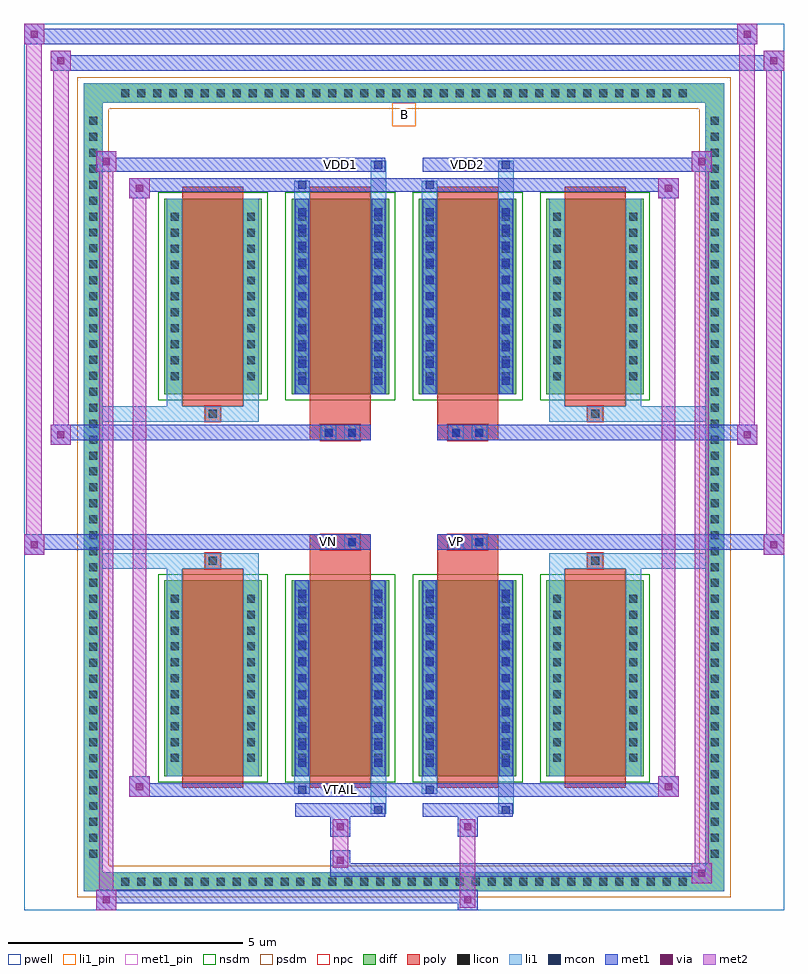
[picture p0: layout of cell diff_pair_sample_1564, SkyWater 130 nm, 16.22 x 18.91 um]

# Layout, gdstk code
import gdstk
lib = gdstk.Library(unit=1e-6, precision=5e-09)
def R(c, l, rs):  # rectangles x0, y0, x1, y1
    for r in rs: c.add(gdstk.rectangle(r[:2], r[2:], *l))
def A(c, l, x, y, w, h, nx, ny, dx, dy):  # array of equal rectangles
    R(c, l, [(x+i*dx, y+j*dy, x+i*dx+w, y+j*dy+h) for i in range(nx) for j in range(ny)])
def P(c, l, *ps):  # polygons
    for p in ps: c.add(gdstk.Polygon(p, *l))
pwell = (64, 44)
diff = (65, 20)
poly = (66, 20)
licon = (66, 44)
li1_pin = (67, 16)
li1 = (67, 20)
mcon = (67, 44)
met1_pin = (68, 16)
met1 = (68, 20)
via = (68, 44)
met2 = (69, 20)
nsdm = (93, 44)
psdm = (94, 20)
npc = (95, 20)

diff_pair_sample_1564 = lib.new_cell('diff_pair_sample_1564')
R(diff_pair_sample_1564, pwell, [(-8.11,-9.02,8.11,9.89), (-5.43,-7.21,-0.01,-0.805), (0.01,-7.21,5.43,-0.805), (-5.43,0.805,-0.01,7.21), (0.01,0.805,5.43,7.21)])
A(diff_pair_sample_1564, diff, -6.155, -8.62, 0.41, 0.41, 36, 2, 0.34, 16.83)
A(diff_pair_sample_1564, diff, -6.84, -8.025, 0.41, 0.41, 1, 47, 0, 0.34)
A(diff_pair_sample_1564, diff, 6.43, -8.025, 0.41, 0.41, 1, 47, 0, 0.34)
A(diff_pair_sample_1564, diff, -5.12, -6.165, 2.08, 4.18, 4, 2, 2.72, 8.15)
R(diff_pair_sample_1564, diff, [(-6.155,-8.62,6.155,-8.21), (-6.84,-8.025,-6.43,8.025), (6.43,-8.025,6.84,8.025), (-6.155,8.21,6.155,8.62)])
P(diff_pair_sample_1564, diff, [(6.84,8.62),(-6.84,8.62),(-6.84,-8.21),(-6.43,-8.21),(-6.43,8.21),(6.43,8.21),(6.43,-8.21),(-6.43,-8.21),(-6.84,-8.21),(-6.84,-8.62),(6.84,-8.62)])
A(diff_pair_sample_1564, poly, -4.73, -6.415, 1.3, 4.68, 4, 2, 2.72, 8.15)
R(diff_pair_sample_1564, poly, [(-4.245,-1.735,-3.915,-1.405), (-4.245,-1.735,-3.915,-1.405), (-2.01,-1.735,-0.71,-1.335), (0.71,-1.735,2.01,-1.335), (3.915,-1.735,4.245,-1.405), (3.915,-1.735,4.245,-1.405), (-2.01,-1.335,-0.71,-1.005), (-1.775,-1.335,-1.445,-1.005), (-1.275,-1.335,-0.945,-1.005), (0.71,-1.335,2.01,-1.005), (0.945,-1.335,1.275,-1.005), (1.445,-1.335,1.775,-1.005), (-2.01,1.005,-0.71,1.335), (-1.775,1.005,-1.445,1.335), (-1.275,1.005,-0.945,1.335), (0.71,1.005,2.01,1.335), (0.945,1.005,1.275,1.335), (1.445,1.005,1.775,1.335), (-2.01,1.335,-0.71,1.735), (0.71,1.335,2.01,1.735), (-4.245,1.405,-3.915,1.735), (-4.245,1.405,-3.915,1.735), (3.915,1.405,4.245,1.735), (3.915,1.405,4.245,1.735)])
A(diff_pair_sample_1564, licon, -6.035, -8.5, 0.17, 0.17, 36, 2, 0.34, 16.83)
A(diff_pair_sample_1564, licon, -6.72, -7.905, 0.17, 0.17, 1, 47, 0, 0.34)
A(diff_pair_sample_1564, licon, 6.55, -7.905, 0.17, 0.17, 1, 47, 0, 0.34)
A(diff_pair_sample_1564, licon, -4.98, -5.86, 0.17, 0.17, 1, 11, 0, 0.34)
A(diff_pair_sample_1564, licon, -3.35, -5.86, 0.17, 0.17, 1, 11, 0, 0.34)
A(diff_pair_sample_1564, licon, -2.26, -5.86, 0.17, 0.17, 1, 11, 0, 0.34)
A(diff_pair_sample_1564, licon, -0.63, -5.86, 0.17, 0.17, 1, 11, 0, 0.34)
A(diff_pair_sample_1564, licon, 0.46, -5.86, 0.17, 0.17, 1, 11, 0, 0.34)
A(diff_pair_sample_1564, licon, 2.09, -5.86, 0.17, 0.17, 1, 11, 0, 0.34)
A(diff_pair_sample_1564, licon, 3.18, -5.86, 0.17, 0.17, 1, 11, 0, 0.34)
A(diff_pair_sample_1564, licon, 4.81, -5.86, 0.17, 0.17, 1, 11, 0, 0.34)
A(diff_pair_sample_1564, licon, -4.98, 2.29, 0.17, 0.17, 1, 11, 0, 0.34)
A(diff_pair_sample_1564, licon, -3.35, 2.29, 0.17, 0.17, 1, 11, 0, 0.34)
A(diff_pair_sample_1564, licon, -2.26, 2.29, 0.17, 0.17, 1, 11, 0, 0.34)
A(diff_pair_sample_1564, licon, -0.63, 2.29, 0.17, 0.17, 1, 11, 0, 0.34)
A(diff_pair_sample_1564, licon, 0.46, 2.29, 0.17, 0.17, 1, 11, 0, 0.34)
A(diff_pair_sample_1564, licon, 2.09, 2.29, 0.17, 0.17, 1, 11, 0, 0.34)
A(diff_pair_sample_1564, licon, 3.18, 2.29, 0.17, 0.17, 1, 11, 0, 0.34)
A(diff_pair_sample_1564, licon, 4.81, 2.29, 0.17, 0.17, 1, 11, 0, 0.34)
R(diff_pair_sample_1564, licon, [(-4.165,-1.655,-3.995,-1.485), (3.995,-1.655,4.165,-1.485), (-1.695,-1.255,-1.525,-1.085), (-1.195,-1.255,-1.025,-1.085), (1.025,-1.255,1.195,-1.085), (1.525,-1.255,1.695,-1.085), (-1.695,1.085,-1.525,1.255), (-1.195,1.085,-1.025,1.255), (1.025,1.085,1.195,1.255), (1.525,1.085,1.695,1.255), (-4.165,1.485,-3.995,1.655), (3.995,1.485,4.165,1.655)])
R(diff_pair_sample_1564, li1_pin, [(-0.25,7.71,0.25,8.21)])
A(diff_pair_sample_1564, li1, -6.115, -8.58, 0.33, 0.33, 36, 2, 0.34, 16.83)
A(diff_pair_sample_1564, li1, -6.8, -7.985, 0.33, 0.33, 1, 47, 0, 0.34)
A(diff_pair_sample_1564, li1, 6.47, -7.985, 0.33, 0.33, 1, 47, 0, 0.34)
A(diff_pair_sample_1564, li1, -2.26, -5.96, 0.17, 0.17, 1, 11, 0, 0.36)
A(diff_pair_sample_1564, li1, -0.63, -5.96, 0.17, 0.17, 1, 11, 0, 0.36)
A(diff_pair_sample_1564, li1, 0.46, -5.96, 0.17, 0.17, 1, 11, 0, 0.36)
A(diff_pair_sample_1564, li1, 2.09, -5.96, 0.17, 0.17, 1, 11, 0, 0.36)
A(diff_pair_sample_1564, li1, -5.06, -5.94, 0.33, 0.33, 1, 11, 0, 0.34)
A(diff_pair_sample_1564, li1, -3.43, -5.94, 0.33, 0.33, 1, 11, 0, 0.34)
A(diff_pair_sample_1564, li1, -2.34, -5.94, 0.33, 0.33, 1, 11, 0, 0.34)
A(diff_pair_sample_1564, li1, -0.71, -5.94, 0.33, 0.33, 1, 11, 0, 0.34)
A(diff_pair_sample_1564, li1, 0.38, -5.94, 0.33, 0.33, 1, 11, 0, 0.34)
A(diff_pair_sample_1564, li1, 2.01, -5.94, 0.33, 0.33, 1, 11, 0, 0.34)
A(diff_pair_sample_1564, li1, 3.1, -5.94, 0.33, 0.33, 1, 11, 0, 0.34)
A(diff_pair_sample_1564, li1, 4.73, -5.94, 0.33, 0.33, 1, 11, 0, 0.34)
A(diff_pair_sample_1564, li1, -2.26, 2.19, 0.17, 0.17, 1, 11, 0, 0.36)
A(diff_pair_sample_1564, li1, -0.63, 2.19, 0.17, 0.17, 1, 11, 0, 0.36)
A(diff_pair_sample_1564, li1, 0.46, 2.19, 0.17, 0.17, 1, 11, 0, 0.36)
A(diff_pair_sample_1564, li1, 2.09, 2.19, 0.17, 0.17, 1, 11, 0, 0.36)
A(diff_pair_sample_1564, li1, -5.06, 2.21, 0.33, 0.33, 1, 11, 0, 0.34)
A(diff_pair_sample_1564, li1, -3.43, 2.21, 0.33, 0.33, 1, 11, 0, 0.34)
A(diff_pair_sample_1564, li1, -2.34, 2.21, 0.33, 0.33, 1, 11, 0, 0.34)
A(diff_pair_sample_1564, li1, -0.71, 2.21, 0.33, 0.33, 1, 11, 0, 0.34)
A(diff_pair_sample_1564, li1, 0.38, 2.21, 0.33, 0.33, 1, 11, 0, 0.34)
A(diff_pair_sample_1564, li1, 2.01, 2.21, 0.33, 0.33, 1, 11, 0, 0.34)
A(diff_pair_sample_1564, li1, 3.1, 2.21, 0.33, 0.33, 1, 11, 0, 0.34)
A(diff_pair_sample_1564, li1, 4.73, 2.21, 0.33, 0.33, 1, 11, 0, 0.34)
R(diff_pair_sample_1564, li1, [(-6.84,-8.62,-6.43,-8.21), (-6.84,-8.62,-6.43,-8.21), (-6.43,-8.62,6.43,-8.21), (6.43,-8.62,6.84,-8.21), (6.43,-8.62,6.84,-8.21), (-6.84,-8.21,-6.43,8.21), (6.43,-8.21,6.84,8.21), (-0.71,-6.97,-0.38,-6.165), (-0.63,-6.97,-0.46,-6.8), (2.01,-6.97,2.34,-6.165), (2.09,-6.97,2.26,-6.8), (-2.34,-6.54,-2.01,-6.165), (-2.26,-6.54,-2.09,-6.37), (0.38,-6.54,0.71,-6.165), (0.46,-6.54,0.63,-6.37), (-5.06,-6.165,-4.73,-1.985), (-3.43,-6.165,-3.1,-1.985), (-2.34,-6.165,-2.01,-1.985), (-0.71,-6.165,-0.38,-1.985), (0.38,-6.165,0.71,-1.985), (2.01,-6.165,2.34,-1.985), (3.1,-6.165,3.43,-1.985), (4.73,-6.165,5.06,-1.985), (-2.26,-5.96,-2.09,-2.19), (-0.63,-5.96,-0.46,-2.19), (0.46,-5.96,0.63,-2.19), (2.09,-5.96,2.26,-2.19), (-5.06,-1.985,-4.73,-1.405), (-3.43,-1.985,-3.1,-1.405), (3.1,-1.985,3.43,-1.405), (4.73,-1.985,5.06,-1.405), (-6.84,-1.735,-4.245,-1.405), (-5.06,-1.735,-4.245,-1.405), (-4.245,-1.735,-3.915,-1.405), (-3.915,-1.735,-3.1,-1.405), (3.1,-1.735,3.915,-1.405), (3.915,-1.735,4.245,-1.405), (3.915,-1.735,6.84,-1.405), (4.245,-1.735,5.06,-1.405), (-1.775,-1.335,-1.445,-1.005), (-1.275,-1.335,-0.945,-1.005), (0.945,-1.335,1.275,-1.005), (1.445,-1.335,1.775,-1.005), (-1.775,1.005,-1.445,1.335), (-1.275,1.005,-0.945,1.335), (0.945,1.005,1.275,1.335), (1.445,1.005,1.775,1.335), (-6.84,1.405,-4.245,1.735), (-5.06,1.405,-4.245,1.735), (-5.06,1.405,-4.73,1.985), (-4.245,1.405,-3.915,1.735), (-3.915,1.405,-3.1,1.735), (-3.43,1.405,-3.1,1.985), (3.1,1.405,3.915,1.735), (3.1,1.405,3.43,1.985), (3.915,1.405,4.245,1.735), (3.915,1.405,6.84,1.735), (4.245,1.405,5.06,1.735), (4.73,1.405,5.06,1.985), (-5.06,1.985,-4.73,6.165), (-3.43,1.985,-3.1,6.165), (-2.34,1.985,-2.01,6.165), (-0.71,1.985,-0.38,6.165), (0.38,1.985,0.71,6.165), (2.01,1.985,2.34,6.165), (3.1,1.985,3.43,6.165), (4.73,1.985,5.06,6.165), (-2.26,2.19,-2.09,5.96), (-0.63,2.19,-0.46,5.96), (0.46,2.19,0.63,5.96), (2.09,2.19,2.26,5.96), (-2.34,6.165,-2.01,6.54), (-0.71,6.165,-0.38,6.97), (0.38,6.165,0.71,6.54), (2.01,6.165,2.34,6.97), (-2.26,6.37,-2.09,6.54), (0.46,6.37,0.63,6.54), (-0.63,6.8,-0.46,6.97), (2.09,6.8,2.26,6.97), (-6.84,8.21,-6.43,8.62), (-6.84,8.21,-6.43,8.62), (-6.43,8.21,6.43,8.62), (6.43,8.21,6.84,8.62), (6.43,8.21,6.84,8.62)])
A(diff_pair_sample_1564, mcon, -2.26, -5.96, 0.17, 0.17, 1, 11, 0, 0.36)
A(diff_pair_sample_1564, mcon, -0.63, -5.96, 0.17, 0.17, 1, 11, 0, 0.36)
A(diff_pair_sample_1564, mcon, 0.46, -5.96, 0.17, 0.17, 1, 11, 0, 0.36)
A(diff_pair_sample_1564, mcon, 2.09, -5.96, 0.17, 0.17, 1, 11, 0, 0.36)
A(diff_pair_sample_1564, mcon, -2.26, 2.19, 0.17, 0.17, 1, 11, 0, 0.36)
A(diff_pair_sample_1564, mcon, -0.63, 2.19, 0.17, 0.17, 1, 11, 0, 0.36)
A(diff_pair_sample_1564, mcon, 0.46, 2.19, 0.17, 0.17, 1, 11, 0, 0.36)
A(diff_pair_sample_1564, mcon, 2.09, 2.19, 0.17, 0.17, 1, 11, 0, 0.36)
R(diff_pair_sample_1564, mcon, [(-0.63,-6.97,-0.46,-6.8), (2.09,-6.97,2.26,-6.8), (-2.26,-6.54,-2.09,-6.37), (0.46,-6.54,0.63,-6.37), (-1.695,-1.255,-1.525,-1.085), (-1.195,-1.255,-1.025,-1.085), (1.025,-1.255,1.195,-1.085), (1.525,-1.255,1.695,-1.085), (-1.695,1.085,-1.525,1.255), (-1.195,1.085,-1.025,1.255), (1.025,1.085,1.195,1.255), (1.525,1.085,1.695,1.255), (-2.26,6.37,-2.09,6.54), (0.46,6.37,0.63,6.54), (-0.63,6.8,-0.46,6.97), (2.09,6.8,2.26,6.97)])
R(diff_pair_sample_1564, met1_pin, [(-1.495,-6.58,-1.225,-6.31), (-1.745,-1.295,-1.475,-1.025), (0.975,-1.295,1.245,-1.025), (-1.495,6.76,-1.225,7.03), (1.225,6.76,1.495,7.03)])
A(diff_pair_sample_1564, met1, -2.32, -6.02, 0.29, 0.29, 1, 11, 0, 0.36)
A(diff_pair_sample_1564, met1, -0.69, -6.02, 0.29, 0.29, 1, 11, 0, 0.36)
A(diff_pair_sample_1564, met1, 0.4, -6.02, 0.29, 0.29, 1, 11, 0, 0.36)
A(diff_pair_sample_1564, met1, 2.03, -6.02, 0.29, 0.29, 1, 11, 0, 0.36)
A(diff_pair_sample_1564, met1, -2.32, 2.13, 0.29, 0.29, 1, 11, 0, 0.36)
A(diff_pair_sample_1564, met1, -0.69, 2.13, 0.29, 0.29, 1, 11, 0, 0.36)
A(diff_pair_sample_1564, met1, 0.4, 2.13, 0.29, 0.29, 1, 11, 0, 0.36)
A(diff_pair_sample_1564, met1, 2.03, 2.13, 0.29, 0.29, 1, 11, 0, 0.36)
R(diff_pair_sample_1564, met1, [(-6.57,-9.02,-6.14,-8.59), (1.145,-9.02,1.575,-8.59), (-6.57,-8.88,1.575,-8.59), (6.14,-8.45,6.57,-8.02), (-1.575,-8.31,6.57,-8.02), (-1.575,-8.17,-1.145,-7.74), (-1.575,-7.46,-1.145,-7.03), (1.145,-7.46,1.575,-7.03), (-2.32,-7.03,-0.4,-6.74), (-0.69,-7.03,-0.4,-6.74), (0.4,-7.03,2.32,-6.74), (2.03,-7.03,2.32,-6.74), (-5.86,-6.6,-5.43,-6.17), (-5.86,-6.6,-2.32,-6.31), (-2.32,-6.6,-2.03,-6.31), (-2.32,-6.6,-0.4,-6.31), (-0.4,-6.6,0.4,-6.31), (0.4,-6.6,0.69,-6.31), (0.4,-6.6,2.32,-6.31), (2.32,-6.6,5.86,-6.31), (5.43,-6.6,5.86,-6.17), (-2.32,-6.165,-2.03,-1.985), (-0.69,-6.165,-0.4,-1.985), (0.4,-6.165,0.69,-1.985), (2.03,-6.165,2.32,-1.985), (-8.11,-1.435,-7.68,-1.005), (7.68,-1.435,8.11,-1.005), (-8.11,-1.335,-0.71,-1.005), (-2.01,-1.335,-0.71,-1.005), (0.71,-1.335,2.01,-1.005), (0.71,-1.335,8.11,-1.005), (-1.755,-1.315,-1.465,-1.025), (-1.255,-1.315,-0.965,-1.025), (0.965,-1.315,1.255,-1.025), (1.465,-1.315,1.755,-1.025), (-7.54,0.905,-7.11,1.335), (7.11,0.905,7.54,1.335), (-7.54,1.005,-2.01,1.335), (-2.01,1.005,-0.71,1.335), (0.71,1.005,2.01,1.335), (2.01,1.005,7.54,1.335), (-1.755,1.025,-1.465,1.315), (-1.255,1.025,-0.965,1.315), (0.965,1.025,1.255,1.315), (1.465,1.025,1.755,1.315), (-2.32,1.985,-2.03,6.165), (-0.69,1.985,-0.4,6.165), (0.4,1.985,0.69,6.165), (2.03,1.985,2.32,6.165), (-5.86,6.17,-5.43,6.6), (5.43,6.17,5.86,6.6), (-5.86,6.31,-2.32,6.6), (-2.32,6.31,-2.03,6.6), (-2.32,6.31,-0.4,6.6), (-0.4,6.31,0.4,6.6), (0.4,6.31,0.69,6.6), (0.4,6.31,2.32,6.6), (2.32,6.31,5.86,6.6), (-6.57,6.74,-6.14,7.17), (-6.57,6.74,-2.32,7.03), (-2.32,6.74,-0.4,7.03), (-0.69,6.74,-0.4,7.03), (0.4,6.74,2.32,7.03), (2.03,6.74,2.32,7.03), (2.32,6.74,6.57,7.03), (6.14,6.74,6.57,7.17), (-7.54,8.89,-7.11,9.32), (-7.54,8.89,-5.43,9.22), (-5.43,8.89,5.43,9.22), (5.43,8.89,8.11,9.22), (7.68,8.89,8.11,9.32), (-8.11,9.46,-7.68,9.89), (-8.11,9.46,-5.43,9.79), (-5.43,9.46,5.43,9.79), (5.43,9.46,7.54,9.79), (7.11,9.46,7.54,9.89)])
R(diff_pair_sample_1564, via, [(-6.43,-8.88,-6.28,-8.73), (1.285,-8.88,1.435,-8.73), (6.28,-8.31,6.43,-8.16), (-1.435,-8.03,-1.285,-7.88), (-1.435,-7.32,-1.285,-7.17), (1.285,-7.32,1.435,-7.17), (-5.72,-6.46,-5.57,-6.31), (5.57,-6.46,5.72,-6.31), (-7.97,-1.295,-7.82,-1.145), (7.82,-1.295,7.97,-1.145), (-7.4,1.045,-7.25,1.195), (7.25,1.045,7.4,1.195), (-5.72,6.31,-5.57,6.46), (5.57,6.31,5.72,6.46), (-6.43,6.88,-6.28,7.03), (6.28,6.88,6.43,7.03), (-7.4,9.03,-7.25,9.18), (7.82,9.03,7.97,9.18), (-7.97,9.6,-7.82,9.75), (7.25,9.6,7.4,9.75)])
R(diff_pair_sample_1564, met2, [(-6.57,-9.02,-6.14,-8.59), (-6.5,-9.02,-6.21,7.17), (-6.21,-9.02,-6.14,-8.59), (-6.52,-8.97,-6.19,-8.64), (1.195,-8.97,1.525,-8.64), (1.195,-8.64,1.525,-7.41), (6.14,-8.45,6.57,-8.02), (6.21,-8.45,6.5,7.17), (6.5,-8.45,6.57,-8.02), (6.19,-8.4,6.52,-8.07), (-1.525,-8.12,-1.195,-7.79), (-1.525,-7.79,-1.195,-7.41), (-1.525,-7.41,-1.195,-7.08), (1.195,-7.41,1.525,-7.08), (-5.86,-6.6,-5.43,-6.17), (-5.79,-6.6,-5.5,6.6), (-5.5,-6.6,-5.43,-6.17), (5.43,-6.6,5.86,-6.17), (5.5,-6.6,5.79,6.6), (5.79,-6.6,5.86,-6.17), (-5.81,-6.55,-5.48,-6.22), (5.48,-6.55,5.81,-6.22), (-8.11,-1.435,-7.68,-1.005), (-8.06,-1.435,-7.73,9.89), (-7.73,-1.435,-7.68,-1.005), (7.68,-1.435,8.11,-1.005), (7.73,-1.435,8.06,9.32), (8.06,-1.435,8.11,-1.005), (-8.06,-1.385,-7.73,-1.055), (7.73,-1.385,8.06,-1.055), (-7.54,0.905,-7.11,1.335), (-7.49,0.905,-7.16,9.32), (-7.16,0.905,-7.11,1.335), (7.11,0.905,7.54,1.335), (7.16,0.905,7.49,9.89), (7.49,0.905,7.54,1.335), (-7.49,0.955,-7.16,1.285), (7.16,0.955,7.49,1.285), (-5.86,6.17,-5.43,6.6), (-5.5,6.17,-5.43,6.6), (5.43,6.17,5.86,6.6), (5.79,6.17,5.86,6.6), (-5.81,6.22,-5.48,6.55), (5.48,6.22,5.81,6.55), (-6.57,6.74,-6.14,7.17), (-6.21,6.74,-6.14,7.17), (6.14,6.74,6.57,7.17), (6.5,6.74,6.57,7.17), (-6.52,6.79,-6.19,7.12), (6.19,6.79,6.52,7.12), (-7.54,8.89,-7.11,9.32), (-7.16,8.89,-7.11,9.32), (7.68,8.89,8.11,9.32), (8.06,8.89,8.11,9.32), (-7.49,8.94,-7.16,9.27), (7.73,8.94,8.06,9.27), (-8.11,9.46,-7.68,9.89), (-7.73,9.46,-7.68,9.89), (7.11,9.46,7.54,9.89), (7.49,9.46,7.54,9.89), (-8.06,9.51,-7.73,9.84), (7.16,9.51,7.49,9.84)])
A(diff_pair_sample_1564, nsdm, -5.25, -6.295, 2.34, 4.44, 4, 2, 2.72, 8.15)
P(diff_pair_sample_1564, psdm, [(6.97,8.75),(-6.97,8.75),(-6.97,-8.08),(-6.3,-8.08),(-6.3,8.08),(6.3,8.08),(6.3,-8.08),(-6.3,-8.08),(-6.97,-8.08),(-6.97,-8.75),(6.97,-8.75)])
R(diff_pair_sample_1564, npc, [(-4.265,-1.755,-3.895,-1.385), (3.895,-1.755,4.265,-1.385), (-1.795,-1.355,-1.425,-0.985), (-1.795,-1.355,-0.925,-0.985), (-1.795,-1.355,-0.925,-0.985), (-1.295,-1.355,-0.925,-0.985), (0.925,-1.355,1.295,-0.985), (0.925,-1.355,1.795,-0.985), (0.925,-1.355,1.795,-0.985), (1.425,-1.355,1.795,-0.985), (-1.795,0.985,-1.425,1.355), (-1.795,0.985,-0.925,1.355), (-1.795,0.985,-0.925,1.355), (-1.295,0.985,-0.925,1.355), (0.925,0.985,1.295,1.355), (0.925,0.985,1.795,1.355), (0.925,0.985,1.795,1.355), (1.425,0.985,1.795,1.355), (-4.265,1.385,-3.895,1.755), (3.895,1.385,4.265,1.755)])
diff_pair_sample_1564.add(gdstk.Label('VTAIL', (-1.36,-6.445), layer=68, texttype=5))
diff_pair_sample_1564.add(gdstk.Label('VN', (-1.61,-1.16), layer=68, texttype=5))
diff_pair_sample_1564.add(gdstk.Label('VP', (1.11,-1.16), layer=68, texttype=5))
diff_pair_sample_1564.add(gdstk.Label('B', (0,7.96), layer=67, texttype=5))
diff_pair_sample_1564.add(gdstk.Label('VDD2', (1.36,6.895), layer=68, texttype=5))
diff_pair_sample_1564.add(gdstk.Label('VDD1', (-1.36,6.895), layer=68, texttype=5))

lib.write_gds('diff_pair_sample_1564.gds')
